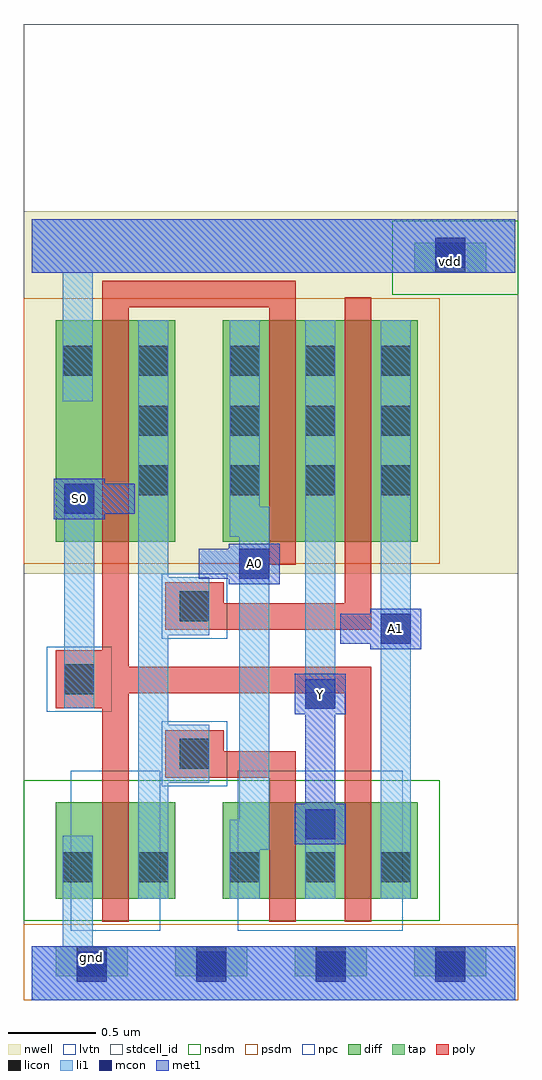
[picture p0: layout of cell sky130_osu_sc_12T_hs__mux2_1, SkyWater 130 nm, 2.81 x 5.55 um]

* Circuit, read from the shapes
.subckt sky130_osu_sc_12T_hs__mux2_1 A0 A1 S0 Y gnd vdd
XM1 n1 S0 gnd gnd sky130_fd_pr__nfet_01v8_lvt w=0.55 l=0.15
XM2 Y n1 A0 gnd sky130_fd_pr__nfet_01v8_lvt w=0.55 l=0.15
XM3 A1 S0 Y gnd sky130_fd_pr__nfet_01v8_lvt w=0.55 l=0.15
XM4 n1 S0 vdd vdd sky130_fd_pr__pfet_01v8 w=1.26 l=0.15
XM5 Y S0 A0 vdd sky130_fd_pr__pfet_01v8 w=1.26 l=0.15
XM6 A1 n1 Y vdd sky130_fd_pr__pfet_01v8 w=1.26 l=0.15
.ends

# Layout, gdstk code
import gdstk
lib = gdstk.Library(unit=1e-6, precision=1e-09)
def R(c, l, rs):  # rectangles x0, y0, x1, y1
    for r in rs: c.add(gdstk.rectangle(r[:2], r[2:], *l))
def A(c, l, x, y, w, h, nx, ny, dx, dy):  # array of equal rectangles
    R(c, l, [(x+i*dx, y+j*dy, x+i*dx+w, y+j*dy+h) for i in range(nx) for j in range(ny)])
nwell = (64, 20)
diff = (65, 20)
tap = (65, 44)
poly = (66, 20)
licon = (66, 44)
li1 = (67, 20)
mcon = (67, 44)
met1 = (68, 20)
stdcell_id = (81, 4)
nsdm = (93, 44)
psdm = (94, 20)
npc = (95, 20)
lvtn = (125, 44)

sky130_osu_sc_12t_hs__mu = lib.new_cell('sky130_osu_sc_12T_hs__mux2_1')
R(sky130_osu_sc_12t_hs__mu, nwell, [(-0.045,2.425,2.765,4.485)])
R(sky130_osu_sc_12t_hs__mu, diff, [(0.135,0.575,0.815,1.125), (1.085,0.575,2.195,1.125), (0.135,2.605,0.815,3.865), (1.085,2.605,2.195,3.865)])
A(sky130_osu_sc_12t_hs__mu, tap, 0.135, 0.135, 0.41, 0.17, 4, 1, 0.68, 0)
R(sky130_osu_sc_12t_hs__mu, tap, [(2.175,4.135,2.585,4.305)])
R(sky130_osu_sc_12t_hs__mu, poly, [(0.4,0.445,0.55,1.66), (1.35,0.445,1.5,1.265), (1.78,0.445,1.93,1.745), (0.76,1.265,1.5,1.415), (0.76,1.415,1.09,1.535), (0.135,1.66,0.55,1.745), (0.135,1.745,1.93,1.895), (0.135,1.895,0.55,1.99), (0.4,1.99,0.55,3.94), (0.76,2.105,1.93,2.255), (0.76,2.255,1.09,2.375), (1.78,2.255,1.93,3.995), (1.35,2.475,1.5,3.94), (0.4,3.94,1.5,4.09)])
A(sky130_osu_sc_12t_hs__mu, licon, 0.255, 0.135, 0.17, 0.17, 4, 1, 0.68, 0)
A(sky130_osu_sc_12t_hs__mu, licon, 1.125, 0.67, 0.17, 0.17, 3, 2, 0.43, 2.2)
A(sky130_osu_sc_12t_hs__mu, licon, 0.605, 2.87, 0.17, 0.17, 1, 3, 0, 0.34)
A(sky130_osu_sc_12t_hs__mu, licon, 1.125, 3.21, 0.17, 0.17, 3, 2, 0.43, 0.34)
R(sky130_osu_sc_12t_hs__mu, licon, [(0.175,0.67,0.345,0.84), (0.605,0.67,0.775,0.84), (0.84,1.315,1.01,1.485), (0.185,1.74,0.355,1.91), (0.84,2.155,1.01,2.325), (0.175,3.55,0.345,3.72), (2.295,4.135,2.465,4.305)])
R(sky130_osu_sc_12t_hs__mu, li1, [(0,0,2.75,0.305), (0.175,0.305,0.345,0.935), (0.605,0.575,0.775,1.235), (1.125,0.575,1.295,0.855), (1.555,0.575,1.725,1.085), (1.985,0.575,2.155,3.865), (1.125,0.855,1.35,1.025), (1.18,1.025,1.35,2.635), (0.605,1.235,1.01,1.565), (0.605,1.565,0.775,2.075), (1.555,1.655,1.725,3.865), (0.185,1.66,0.355,2.935), (0.605,2.075,1.01,2.405), (0.605,2.405,0.775,3.865), (1.125,2.635,1.35,2.805), (1.125,2.805,1.295,3.865), (0.175,3.405,0.345,4.135), (0,4.135,2.75,4.44)])
A(sky130_osu_sc_12t_hs__mu, mcon, 0.255, 0.105, 0.17, 0.17, 4, 1, 0.68, 0)
R(sky130_osu_sc_12t_hs__mu, mcon, [(1.555,0.915,1.725,1.085), (1.555,1.655,1.725,1.825), (1.985,2.025,2.155,2.195), (1.18,2.395,1.35,2.565), (0.185,2.765,0.355,2.935), (2.295,4.165,2.465,4.335)])
R(sky130_osu_sc_12t_hs__mu, met1, [(0,0,2.75,0.305), (1.495,0.885,1.785,1.115), (1.555,1.115,1.725,1.625), (1.495,1.625,1.785,1.855), (1.925,1.995,2.215,2.025), (1.755,2.025,2.215,2.195), (1.925,2.195,2.215,2.225), (1.12,2.365,1.41,2.395), (0.95,2.395,1.41,2.565), (1.12,2.565,1.41,2.595), (0.125,2.735,0.415,2.765), (0.125,2.765,0.585,2.935), (0.125,2.935,0.415,2.965), (0,4.135,2.75,4.44)])
R(sky130_osu_sc_12t_hs__mu, stdcell_id, [(-0.045,0,2.765,5.55)])
R(sky130_osu_sc_12t_hs__mu, nsdm, [(-0.045,0.45,2.32,1.25), (2.05,4.01,2.765,4.43)])
R(sky130_osu_sc_12t_hs__mu, psdm, [(-0.045,0,2.765,0.43), (-0.045,2.48,2.32,3.99)])
R(sky130_osu_sc_12t_hs__mu, npc, [(0.74,1.215,1.11,1.585), (0.085,1.64,0.455,2.01), (0.74,2.055,1.11,2.425)])
R(sky130_osu_sc_12t_hs__mu, lvtn, [(0.22,0.395,0.73,1.305), (1.17,0.395,2.11,1.305)])
sky130_osu_sc_12t_hs__mu.add(gdstk.Label('gnd', (0.34,0.24), layer=68, texttype=16))
sky130_osu_sc_12t_hs__mu.add(gdstk.Label('vdd', (2.38,4.2), layer=68, texttype=16))
sky130_osu_sc_12t_hs__mu.add(gdstk.Label('S0', (0.27,2.85), layer=68, texttype=5))
sky130_osu_sc_12t_hs__mu.add(gdstk.Label('Y', (1.64,1.74), layer=68, texttype=5))
sky130_osu_sc_12t_hs__mu.add(gdstk.Label('A0', (1.265,2.48), layer=68, texttype=5))
sky130_osu_sc_12t_hs__mu.add(gdstk.Label('A1', (2.07,2.11), layer=68, texttype=5))

lib.write_gds('sky130_osu_sc_12T_hs__mux2_1.gds')
